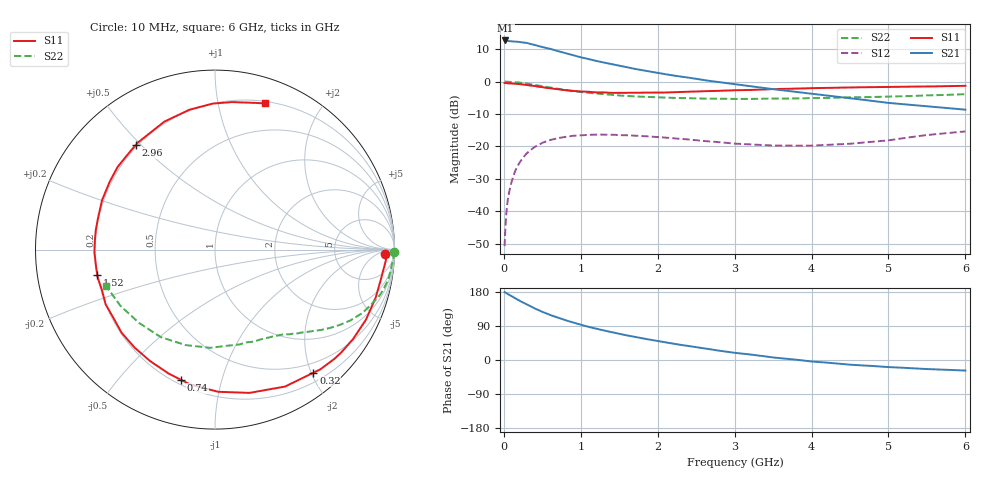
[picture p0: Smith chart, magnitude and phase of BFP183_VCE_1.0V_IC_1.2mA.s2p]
! Infineon Technologies  Discrete & RF Semiconductors
! BFP183
! VCE = 1.0 V,  IC =  1.2 mA
! Common Emitter S-Parameters:  Jan 2016
# GHz  S  MA  R  50
!  f  S11  S21  S12  S22
! GHz  MAG  ANG  MAG  ANG  MAG  ANG  MAG  ANG
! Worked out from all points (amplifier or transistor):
!   210 points, 10 MHz to 6 GHz, reference 50 ohm
!   highest |S21| = 12.7 dB at 20 MHz (marker M1)
!   |S21| within 3 dB of that: start of sweep to 660.4 MHz
!   unconditionally stable (mu >= 1): 2.308 GHz to end of sweep
!   at 185 MHz: K = 0.09, MSG = 19.0 dB, |S12| = -25.8 dB
!   at 1.52 GHz: K = 0.65, MSG = 10.7 dB, |S12| = -16.5 dB
!   at 6 GHz: K = 1.15, MAG = 1.0 dB, |S12| = -15.4 dB
!   S11 on the Smith chart (normalised r, x): 10 MHz: 31, -16; 320 MHz: 0.34, -2.03; 740 MHz: 0.23, -0.75; 1.52 GHz: 0.20, -0.10; 2.96 GHz: 0.19, +0.48; 6 GHz: 0.22, +1.37
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0.01  0.9496 -1.5  4.24 179.2  0.0029 87.2  0.9997 -0.7
0.02  0.9544 -3.5  4.304 178.3  0.0055 83.8  0.9993 -1.3
0.05  0.9422 -8.4  4.238 174.3  0.0146 87.4  0.9938 -3.2
0.11  0.9315 -18.2  4.162 167.4  0.031 78.1  0.9848 -7.2
0.15  0.9275 -24.9  4.154 162.7  0.0423 74.8  0.9798 -9.8
0.22  0.9105 -36.1  4.051 154.8  0.06 68.4  0.96 -14.0
0.32  0.8781 -51.4  3.877 144.7  0.0824 59.5  0.9223 -19.4
0.4  0.857 -62.9  3.682 136.2  0.0981 53.2  0.8929 -23.4
0.5  0.8211 -76.5  3.408 127.1  0.1136 45.9  0.8505 -27.7
0.6  0.7922 -88.8  3.205 119.0  0.1256 39.3  0.8099 -31.3
0.74  0.7503 -104.5  2.871 109.1  0.1365 31.5  0.7609 -35.5
0.9  0.7186 -120.2  2.551 98.8  0.146 24.2  0.715 -39.3
1.02  0.7031 -131.1  2.341 91.9  0.1494 19.3  0.687 -41.9
1.26  0.6803 -150.4  2.012 79.9  0.1521 11.2  0.6449 -46.5
1.52  0.6709 -168.0  1.738 68.1  0.1493 4.9  0.6078 -50.9
2.02  0.6754 164.4  1.348 49.3  0.1394 -3.2  0.5712 -59.4
2.58  0.7097 140.4  1.063 31.4  0.1219 -7.1  0.5466 -70.9
2.96  0.7313 127.1  0.925 20.2  0.1117 -6.7  0.5412 -79.5
3.1  0.7376 122.9  0.879 16.9  0.109 -5.5  0.5399 -83.0
4.1  0.7946 98.4  0.63 -5.4  0.1042 7.9  0.557 -110.1
5.1  0.8292 82.1  0.458 -19.6  0.1293 19.2  0.5902 -138.6
6  0.8603 71.2  0.369 -27.9  0.1704 16.4  0.6402 -161.7
